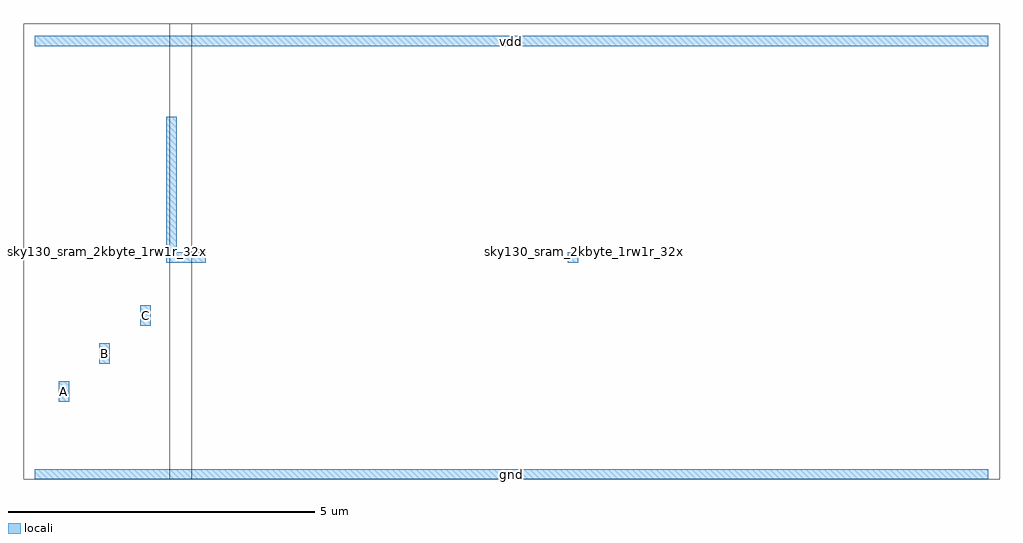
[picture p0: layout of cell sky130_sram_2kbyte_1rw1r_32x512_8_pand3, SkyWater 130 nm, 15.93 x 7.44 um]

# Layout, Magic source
magic
tech sky130B
magscale 1 2
<< locali >>
rect 0 1397 3114 1431
rect 430 724 464 1167
rect 430 690 559 724
rect 1741 690 1775 724
rect 345 485 379 551
rect 212 361 246 427
rect 79 237 113 303
rect 0 -17 3114 17
use sky130_sram_2kbyte_1rw1r_32x512_8_pdriver_4  sky130_sram_2kbyte_1rw1r_32x512_8_pdriver_4_0
transform 1 0 478 0 1 0
box -36 -17 2672 1471
use sky130_sram_2kbyte_1rw1r_32x512_8_pnand3  sky130_sram_2kbyte_1rw1r_32x512_8_pnand3_0
transform 1 0 0 0 1 0
box -36 -17 514 1471
<< labels >>
rlabel locali s 1758 707 1758 707 4 Z
rlabel locali s 96 270 96 270 4 A
rlabel locali s 229 394 229 394 4 B
rlabel locali s 362 518 362 518 4 C
rlabel locali s 1557 0 1557 0 4 gnd
rlabel locali s 1557 1414 1557 1414 4 vdd
<< properties >>
string FIXED_BBOX 0 0 3114 1414
string GDS_END 10972756
string GDS_FILE $PDKPATH/libs.ref/sky130_sram_macros/gds/sky130_sram_2kbyte_1rw1r_32x512_8.gds
string GDS_START 10971508
<< end >>
